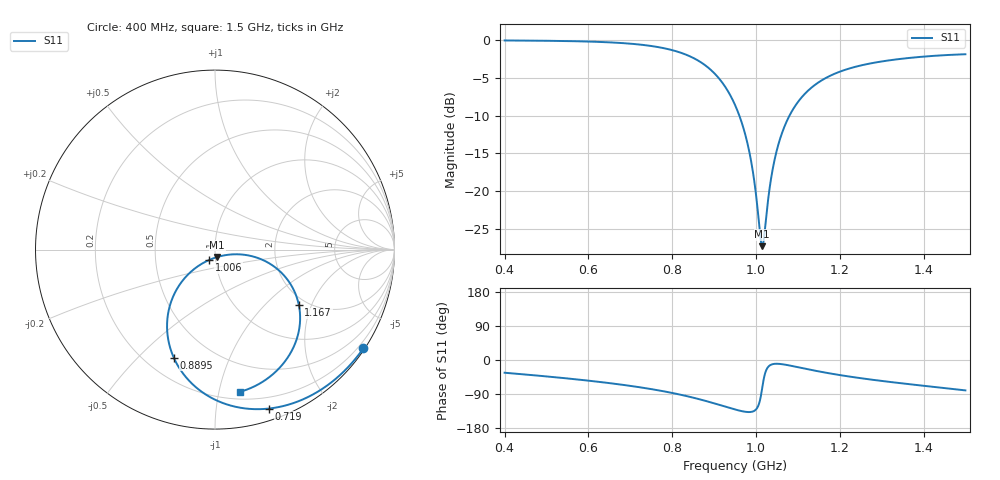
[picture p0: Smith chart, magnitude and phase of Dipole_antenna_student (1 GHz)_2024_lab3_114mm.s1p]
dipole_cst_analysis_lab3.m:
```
%%%%%%%%%%%%%%%%%%%%%%%%%%%%%%%%%%%%%%%%%%%%%%%%%%%%%%%%%%%%%%%%%%%%%%%%%%%
%                   Dipole Antenna at ~1 GHz in CST
%                   Extended script with Directivity Calculation
%%%%%%%%%%%%%%%%%%%%%%%%%%%%%%%%%%%%%%%%%%%%%%%%%%%%%%%%%%%%%%%%%%%%%%%%%%%
clear; clc; close all;

%% --- 1. THEORETICAL DIPOLE DIMENSIONS ---
c0 = 3e8;                % Speed of light [m/s]
f_design = 1e9;          % Design frequency [Hz]
lambda = c0 / f_design;  % Free-space wavelength [m]
dipoleLength_ideal = lambda/2;  % Ideal half-wave dipole length [m]

disp('=== THEORETICAL ANTENNA DATA ===');
fprintf('Design frequency      : %.3f GHz\n', f_design/1e9);
fprintf('Free-space wavelength: %.3f mm\n', lambda*1e3);
fprintf('Ideal dipole length  : %.3f mm (half-wave)\n', dipoleLength_ideal*1e3);
disp(' ');

%% --- 2. LOAD THE S-PARAMETER (Touchstone) FILE FROM CST ---
filename = 'Dipole_antenna_student (1 GHz)_2024_lab3_114mm.s1p';
disp('=== LOADING S-PARAMETERS ===');
disp(['Using file: ', filename]);

% Requires RF Toolbox:
sData = sparameters(filename);  

% Extract frequency array (Hz) and S11
freq_Hz = sData.Frequencies;
S11 = squeeze(sData.Parameters(1,1,:));
S11_dB = 20*log10(abs(S11));

% Find index of minimum S11 in dB (resonant frequency)
[S11_min_dB, idxMin] = min(S11_dB);
f_resonant = freq_Hz(idxMin);

% Print relevant S-parameter info
disp(' ');
disp('=== S-PARAMETER ANALYSIS ===');
fprintf('Number of freq. points   : %d\n', length(freq_Hz));
fprintf('Found resonance near     : %.3f GHz\n', f_resonant/1e9);
fprintf('S11(dB) at resonance     : %.2f dB\n', S11_min_dB);
fprintf('Offset from design (MHz) : %.2f MHz\n', (f_resonant - f_design)/1e6);
disp(' ');

%% --- 3. PLOT RETURN LOSS (S11) ---
figure('Name','Return Loss');
plot(freq_Hz/1e9, S11_dB, 'LineWidth',1.5);
grid on; xlabel('Frequency (GHz)'); ylabel('|S_{11}| (dB)');
title('Dipole Antenna Return Loss');
xlim([min(freq_Hz/1e9), max(freq_Hz/1e9)]);

%% --- 4. SMITH CHART ---
figure('Name','Smith Chart');
smithplot(sData);
title('Smith Chart of S_{11}');

%% --- 5. FAR-FIELD RADIATION PATTERN & DIRECTIVITY ---
% If you exported far-field data from CST, e.g. "Angle (deg), Directivity (dBi)" 
% or "Angle (deg), Gain (dBi)". 
% Adjust filenames and columns as necessary.

% Example for a single-plane cut:
% Suppose your CSV has columns: 
%    1) Angle in degrees
%    2) Directivity (or Gain) in dBi
%
% If you have 3D data, you'd do a separate approach or read a 3D export.

% Uncomment or modify the next lines to load your far-field data.

% farFieldFile = 'Dipole_FF_EPlane.csv';  % <-- Your actual CST export file
% FFData = readmatrix(farFieldFile); 
% angle_deg = FFData(:,1);
% directivity_dBi  = FFData(:,2);
% 
% % Find the maximum directivity in this cut:
% maxDirectivity_dBi = max(directivity_dBi);
% 
% figure('Name','Far-Field Pattern (E-Plane)');
% polarplot(deg2rad(angle_deg), directivity_dBi, 'LineWidth',1.5);
% title('Dipole Far-Field (E-plane) Directivity [dBi]');
% 
% fprintf('\n=== FAR-FIELD / RADIATION PATTERN ===\n');
% fprintf('Max directivity (from E-plane cut) = %.2f dBi\n', maxDirectivity_dBi);
% fprintf('Typical dipole directivity in free space ~ 2.15 dBi.\n');
% disp('Check actual 3D data or both E-plane/H-plane for a more accurate estimate.');
% disp(' ');

disp('=== FAR-FIELD / RADIATION PATTERN (General Info) ===');
disp('1) The classic dipole pattern is doughnut-shaped with max gain broadside.');
disp('2) Typical directivity ~ 2.15 dBi for an ideal half-wave dipole in free space.');
disp('3) Pattern is approximately symmetric in the principal cuts.');
disp('4) Polarization for a simple dipole is linear.');
disp(' ');

%% --- 6. MESHING INFORMATION (CST) ---
disp('=== MESHING CONSIDERATIONS IN CST ===');
disp('In CST, you can use Adaptive Mesh Refinement or manual settings.');
disp('1) Observe S-parameter convergence vs. iteration to ensure enough cells per wavelength.');
disp('2) The fewest cells typically occur in large low-field regions;');
disp('   the densest mesh is near high-field regions such as feed gaps or edges.');
disp('3) Always check final mesh distribution plots in CST to ensure accuracy.');
disp(' ');
disp('Done.');
```
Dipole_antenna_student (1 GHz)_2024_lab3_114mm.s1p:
! TOUCHSTONE file generated by CST MICROWAVE STUDIO
! Date and time: Sun Mar 23 14:11:06 2025
! Project name: Dipole_antenna_student (1 GHz)_2024.cst
! Parameters = {dipole_length=114}
! Header version: 2024
! Port assignment regex: !\s*Touchstone port\s*([0-9]+)\s*=\s*(CST MWS port|CST DES external port|CST DES block port)\s*(.+)\s* \(\"(.*)\"\)(\s*mode\s*([0-9]+))?.*
! Touchstone port assignment:
! Touchstone port 1 = CST MWS port 1 ("")
# GHz S MA R 50
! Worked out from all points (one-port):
!   1011 points, 400 MHz to 1.5 GHz, reference 50 ohm
!   lowest |S11| = -27.3 dB at 1.015 GHz (marker M1), VSWR 1.09, Z = 51 - j4.25 ohm
!   |S11| at or under -10 dB: 960.2 MHz to 1.08 GHz (120 MHz wide, 11.8 % of centre)
!   S11 on the Smith chart (normalised r, x): 400 MHz: 0.04, -3.31; 719 MHz: 0.10, -1.39; 889.5 MHz: 0.31, -0.64; 1.006 GHz: 0.93, -0.11; 1.167 GHz: 1.81, -1.63; 1.5 GHz: 0.26, -1.15
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0.4  0.9929 -33.6
0.719  0.935 -71.3
0.7674  0.8965 -80.1
0.8895  0.644 -110.9
0.9654  0.2876 -134.8
0.9885  0.1576 -137.0
1.0061  0.06623 -119.3
1.0149  0.04315 -74.4
1.0391  0.1354 -11.2
1.0589  0.2275 -10.6
1.1337  0.4867 -26.6
1.1667  0.5602 -33.5
1.3196  0.7343 -57.9
1.5  0.8046 -80.2
